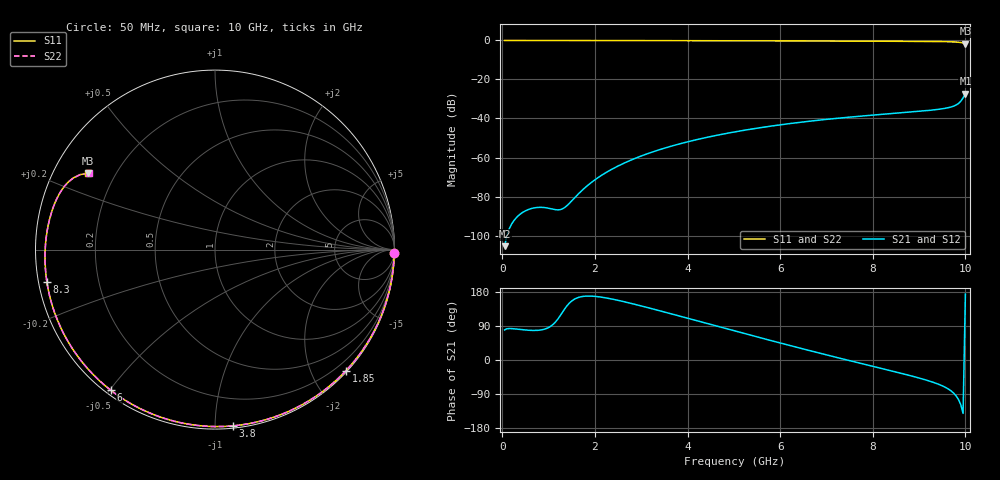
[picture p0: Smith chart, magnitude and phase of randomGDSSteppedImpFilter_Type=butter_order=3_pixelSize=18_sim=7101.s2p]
! freq	dB(S11)	phase(S11)	dB(S12)	phase(S12)
!  dB(S21)	phase(S21)	dB(S22)	phase(S22)
!S-par simulation data
#  GHz  S  DB  R 50
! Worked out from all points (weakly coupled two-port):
!   200 points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, 50 MHz to 10 GHz, reference 50 ohm
!   highest |S21| = -27.36 dB at 10 GHz (marker M1); lowest = -105.4 dB at 50 MHz (marker M2)
!   lowest |S11| = -1.7 dB at 10 GHz (marker M3), VSWR 10.36, Z = 5.2 + j13.8 ohm
!   |S11| at or under -10 dB: nowhere
!   |S22| runs from -1.7 to 0.0 dB; largest |S21 - S12| = 0
!   S11 on the Smith chart (normalised r, x): 50 MHz: 7, -98; 1.85 GHz: 0.02, -2.55; 3.8 GHz: 0.01, -1.10; 6 GHz: 0.02, -0.50; 8.3 GHz: 0.02, -0.10; 10 GHz: 0.10, +0.28
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0.05  -0.01 -1.2  -105.43 79.4  -105.43 79.4  -0.01 -1.2
0.75  -0.02 -17.6  -85.60 78.2  -85.60 78.2  -0.02 -17.6
1.55  -0.05 -36.0  -80.94 160.0  -80.94 160.0  -0.05 -36.0
1.6  -0.05 -37.2  -79.69 163.1  -79.69 163.1  -0.05 -37.2
1.75  -0.05 -40.5  -76.22 167.9  -76.22 167.9  -0.05 -40.5
1.85  -0.05 -42.8  -74.17 168.7  -74.17 168.7  -0.05 -42.8
2.15  -0.06 -49.4  -69.01 165.6  -69.01 165.6  -0.06 -49.4
2.5  -0.07 -57.1  -64.35 157.4  -64.35 157.4  -0.07 -57.1
2.9  -0.08 -65.7  -60.13 145.8  -60.13 145.8  -0.08 -65.7
3.4  -0.10 -76.1  -55.95 129.9  -55.95 129.9  -0.10 -76.1
3.8  -0.11 -84.3  -53.19 116.8  -53.19 116.8  -0.11 -84.3
5.05  -0.16 -108.8  -46.74 75.7  -46.74 75.7  -0.16 -108.8
6  -0.22 -126.5  -43.25 44.9  -43.25 44.9  -0.22 -126.5
6.7  -0.27 -139.3  -41.22 22.8  -41.22 22.8  -0.27 -139.3
7.5  -0.33 -154.0  -39.30 -1.7  -39.30 -1.7  -0.33 -154.0
8.3  -0.41 -169.0  -37.68 -25.7  -37.68 -25.7  -0.41 -169.0
8.35  -0.42 -170.0  -37.59 -27.2  -37.59 -27.2  -0.42 -170.0
9.1  -0.52 175.0  -36.12 -51.0  -36.12 -51.0  -0.52 175.0
9.65  -0.68 161.9  -34.36 -78.0  -34.36 -78.0  -0.68 161.8
9.85  -0.92 155.2  -32.33 -104.1  -32.33 -104.1  -0.93 155.1
9.9  -1.06 153.2  -31.19 -117.8  -31.19 -117.8  -1.08 153.1
10  -1.68 148.9  -27.36 173.9  -27.36 173.9  -1.73 148.8
